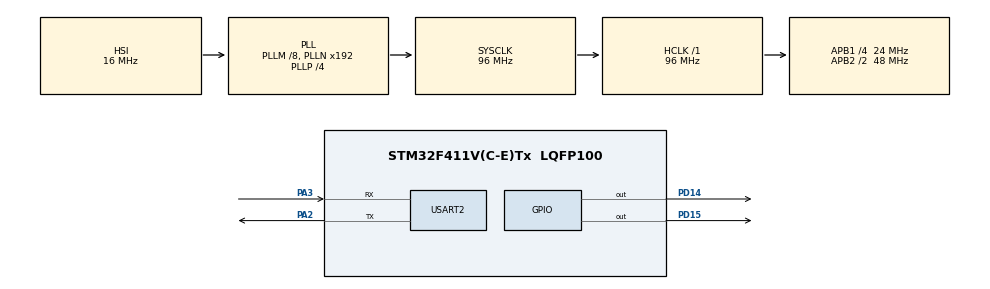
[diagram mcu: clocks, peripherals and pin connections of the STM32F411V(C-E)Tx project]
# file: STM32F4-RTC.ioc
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Mcu.Family=STM32F4
Mcu.Name=STM32F411V(C-E)Tx
Mcu.Package=LQFP100
NVIC.PriorityGroup=NVIC_PRIORITYGROUP_0
NVIC.RTC_WKUP_IRQn=true\:0\:0\:false\:false\:true\:true\:true\:true
PA2.Mode=Asynchronous
PA2.Signal=USART2_TX
PA3.Mode=Asynchronous
PA3.Signal=USART2_RX
PD14.Signal=GPIO_Output
PD15.Signal=GPIO_Output
PH0\ -\ OSC_IN.Mode=HSE-External-Oscillator
PH0\ -\ OSC_IN.Signal=RCC_OSC_IN
PH1\ -\ OSC_OUT.Mode=HSE-External-Oscillator
PH1\ -\ OSC_OUT.Signal=RCC_OSC_OUT
ProjectManager.HeapSize=0x200
ProjectManager.StackSize=0x400
ProjectManager.TargetToolchain=STM32CubeIDE
RCC.48MHZClocksFreq_Value=48000000
RCC.AHBFreq_Value=96000000
RCC.APB1CLKDivider=RCC_HCLK_DIV4
RCC.APB1Freq_Value=24000000
RCC.APB1TimFreq_Value=48000000
RCC.APB2CLKDivider=RCC_HCLK_DIV2
RCC.APB2Freq_Value=48000000
RCC.APB2TimFreq_Value=96000000
RCC.CortexFreq_Value=96000000
RCC.HCLKFreq_Value=96000000
RCC.HSE_VALUE=8000000
RCC.HSI_VALUE=16000000
RCC.PLLI2SM=5
RCC.PLLI2SN=200
RCC.PLLM=8
RCC.PLLP=RCC_PLLP_DIV4
RCC.PLLQ=8
RCC.RCC_RTC_Clock_Source=RCC_RTCCLKSOURCE_HSE_DIV8
RCC.RCC_RTC_Clock_Source_FROM_HSE=RCC_RTCCLKSOURCE_HSE_DIV8
RCC.SYSCLKFreq_VALUE=96000000
RCC.SYSCLKSource=RCC_SYSCLKSOURCE_PLLCLK
RCC.VCOOutputFreq_Value=384000000
RTC.AsynchPrediv=125-1
RTC.Format=RTC_FORMAT_BIN
RTC.SynchPrediv=8000-1
USART2.VirtualMode=VM_ASYNC
VP_RTC_VS_RTC_Activate.Mode=RTC_Enabled
VP_RTC_VS_RTC_WakeUp_intern.Mode=WakeUp
board=STM32F411E-DISCO

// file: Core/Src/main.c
/* USER CODE BEGIN Header */
/**
  ******************************************************************************
  * @file           : main.c
  * @brief          : Main program body
  ******************************************************************************
  * @attention
  *
  * Copyright (c) 2023 STMicroelectronics.
  * All rights reserved.
  *
  * This software is licensed under terms that can be found in the LICENSE file
  * in the root directory of this software component.
  * If no LICENSE file comes with this software, it is provided AS-IS.
  *
  ******************************************************************************
  */
/* USER CODE END Header */
#include "main.h"

/* USER CODE BEGIN Includes */
#include <stdio.h>
/* USER CODE END Includes */

RTC_HandleTypeDef hrtc;

UART_HandleTypeDef huart2;

/* USER CODE BEGIN PV */

#define UartHandle &huart2
#define RtcHandle &hrtc

/* USER CODE END PV */

void SystemClock_Config(void);
static void MX_GPIO_Init(void);
static void MX_RTC_Init(void);
static void MX_USART2_UART_Init(void);
/* USER CODE BEGIN PFP */
void HAL_RTCEx_WakeUpTimerEventCallback(RTC_HandleTypeDef *hrtc)
{
	static RTC_TimeTypeDef sTime;
	static char message[50];
	static size_t size;

	// Get current time
	HAL_RTC_GetTime(hrtc, &sTime, RTC_FORMAT_BIN);
	uint16_t mseconds = (sTime.SubSeconds * 1000) / (sTime.SecondFraction + 1);

	// Send time over uart
	size = sprintf(message, "Time: %2.2u:%2.2u:%2.2u:%3.3u\n\r", sTime.Hours, sTime.Minutes, sTime.Seconds, mseconds);
	HAL_UART_Transmit(UartHandle, (uint8_t*)message, size, 50);
}
/* USER CODE END PFP */

int main(void)
{

  /* MCU Configuration--------------------------------------------------------*/

  /* Reset of all peripherals, Initializes the Flash interface and the Systick. */
  HAL_Init();

  /* Configure the system clock */
  SystemClock_Config();

  /* Initialize all configured peripherals */
  MX_GPIO_Init();
  MX_RTC_Init();
  MX_USART2_UART_Init();
  /* USER CODE BEGIN 2 */

  // Disable Wakeup Timer and configure it
  HAL_RTCEx_DeactivateWakeUpTimer(RtcHandle);

  // Data
  RTC_TimeTypeDef sTime;
  char message[50];
  uint8_t size;
  //uint16_t mseconds;

  //UART HELLO
  size = sprintf(message,"\n\rHello\r");
  HAL_UART_Transmit(UartHandle, (uint8_t*)message, size, 50);

  //Set Time
  sTime.Hours = 9;
  sTime.Minutes = 27;
  HAL_RTC_SetTime(RtcHandle, &sTime, RTC_FORMAT_BIN);

 //Start Wakeup timer with configuration (32768Hz/ 16 = 2048) -> Counter = 2048
  // (1,000,000 Hz / 16 = 62500) -> Counter = 62500-1
  HAL_RTCEx_SetWakeUpTimer_IT(RtcHandle, 62500-1, RTC_WAKEUPCLOCK_RTCCLK_DIV16);

  /* USER CODE END 2 */

  /* Infinite loop */
  /* USER CODE BEGIN WHILE */
  while (1)
  {
	 /*HAL_RTC_GetTime(RtcHandle, &sTime, RTC_FORMAT_BIN);
	 mseconds = (sTime.SubSeconds * 1000) / (sTime.SecondFraction + 1);

	 //Send time over UART
	 size = sprintf(message, "Time: %2.2u:%2.2u:%2.2u:%3.3u\n\r", sTime.Hours, sTime.Minutes, sTime.Seconds, mseconds);
	 HAL_UART_Transmit(UartHandle,(uint8_t*) message, size, 50);*/

	 HAL_GPIO_TogglePin(GPIOD, GPIO_PIN_15);
	 HAL_Delay(1000);

    /* USER CODE END WHILE */

  }
}

void SystemClock_Config(void)
{
  RCC_OscInitTypeDef RCC_OscInitStruct = {0};
  RCC_ClkInitTypeDef RCC_ClkInitStruct = {0};

  /** Configure the main internal regulator output voltage
  */
  __HAL_RCC_PWR_CLK_ENABLE();
  __HAL_PWR_VOLTAGESCALING_CONFIG(PWR_REGULATOR_VOLTAGE_SCALE1);

  /** Initializes the RCC Oscillators according to the specified parameters
  * in the RCC_OscInitTypeDef structure.
  */
  RCC_OscInitStruct.OscillatorType = RCC_OSCILLATORTYPE_HSI|RCC_OSCILLATORTYPE_HSE;
  RCC_OscInitStruct.HSEState = RCC_HSE_ON;
  RCC_OscInitStruct.HSIState = RCC_HSI_ON;
  RCC_OscInitStruct.HSICalibrationValue = RCC_HSICALIBRATION_DEFAULT;
  RCC_OscInitStruct.PLL.PLLState = RCC_PLL_ON;
  RCC_OscInitStruct.PLL.PLLSource = RCC_PLLSOURCE_HSI;
  RCC_OscInitStruct.PLL.PLLM = 8;
  RCC_OscInitStruct.PLL.PLLN = 192;
  RCC_OscInitStruct.PLL.PLLP = RCC_PLLP_DIV4;
  RCC_OscInitStruct.PLL.PLLQ = 8;
  if (HAL_RCC_OscConfig(&RCC_OscInitStruct) != HAL_OK)
  {
    Error_Handler();
  }

  /** Initializes the CPU, AHB and APB buses clocks
  */
  RCC_ClkInitStruct.ClockType = RCC_CLOCKTYPE_HCLK|RCC_CLOCKTYPE_SYSCLK
                              |RCC_CLOCKTYPE_PCLK1|RCC_CLOCKTYPE_PCLK2;
  RCC_ClkInitStruct.SYSCLKSource = RCC_SYSCLKSOURCE_PLLCLK;
  RCC_ClkInitStruct.AHBCLKDivider = RCC_SYSCLK_DIV1;
  RCC_ClkInitStruct.APB1CLKDivider = RCC_HCLK_DIV4;
  RCC_ClkInitStruct.APB2CLKDivider = RCC_HCLK_DIV2;

  if (HAL_RCC_ClockConfig(&RCC_ClkInitStruct, FLASH_LATENCY_3) != HAL_OK)
  {
    Error_Handler();
  }
}

static void MX_RTC_Init(void)
{

  RTC_TimeTypeDef sTime = {0};
  RTC_DateTypeDef sDate = {0};

  /** Initialize RTC Only
  */
  hrtc.Instance = RTC;
  hrtc.Init.HourFormat = RTC_HOURFORMAT_24;
  hrtc.Init.AsynchPrediv = 125-1;
  hrtc.Init.SynchPrediv = 8000-1;
  hrtc.Init.OutPut = RTC_OUTPUT_DISABLE;
  hrtc.Init.OutPutPolarity = RTC_OUTPUT_POLARITY_HIGH;
  hrtc.Init.OutPutType = RTC_OUTPUT_TYPE_OPENDRAIN;
  if (HAL_RTC_Init(&hrtc) != HAL_OK)
  {
    Error_Handler();
  }

  /** Initialize RTC and set the Time and Date
  */
  sTime.Hours = 0;
  sTime.Minutes = 0;
  sTime.Seconds = 0;
  sTime.DayLightSaving = RTC_DAYLIGHTSAVING_NONE;
  sTime.StoreOperation = RTC_STOREOPERATION_RESET;
  if (HAL_RTC_SetTime(&hrtc, &sTime, RTC_FORMAT_BIN) != HAL_OK)
  {
    Error_Handler();
  }
  sDate.WeekDay = RTC_WEEKDAY_MONDAY;
  sDate.Month = RTC_MONTH_JANUARY;
  sDate.Date = 1;
  sDate.Year = 0;

  if (HAL_RTC_SetDate(&hrtc, &sDate, RTC_FORMAT_BIN) != HAL_OK)
  {
    Error_Handler();
  }

  /** Enable the WakeUp
  */
  if (HAL_RTCEx_SetWakeUpTimer_IT(&hrtc, 0, RTC_WAKEUPCLOCK_RTCCLK_DIV16) != HAL_OK)
  {
    Error_Handler();
  }

}

static void MX_USART2_UART_Init(void)
{

  huart2.Instance = USART2;
  huart2.Init.BaudRate = 115200;
  huart2.Init.WordLength = UART_WORDLENGTH_8B;
  huart2.Init.StopBits = UART_STOPBITS_1;
  huart2.Init.Parity = UART_PARITY_NONE;
  huart2.Init.Mode = UART_MODE_TX_RX;
  huart2.Init.HwFlowCtl = UART_HWCONTROL_NONE;
  huart2.Init.OverSampling = UART_OVERSAMPLING_16;
  if (HAL_UART_Init(&huart2) != HAL_OK)
  {
    Error_Handler();
  }

}

static void MX_GPIO_Init(void)
{
  GPIO_InitTypeDef GPIO_InitStruct = {0};

  /* GPIO Ports Clock Enable */
  __HAL_RCC_GPIOH_CLK_ENABLE();
  __HAL_RCC_GPIOA_CLK_ENABLE();
  __HAL_RCC_GPIOD_CLK_ENABLE();

  /*Configure GPIO pin Output Level */
  HAL_GPIO_WritePin(GPIOD, GPIO_PIN_14|GPIO_PIN_15, GPIO_PIN_RESET);

  /*Configure GPIO pins : PD14 PD15 */
  GPIO_InitStruct.Pin = GPIO_PIN_14|GPIO_PIN_15;
  GPIO_InitStruct.Mode = GPIO_MODE_OUTPUT_PP;
  GPIO_InitStruct.Pull = GPIO_NOPULL;
  GPIO_InitStruct.Speed = GPIO_SPEED_FREQ_LOW;
  HAL_GPIO_Init(GPIOD, &GPIO_InitStruct);

}

void Error_Handler(void)
{
  __disable_irq();
  while (1)
  {
  }
}
